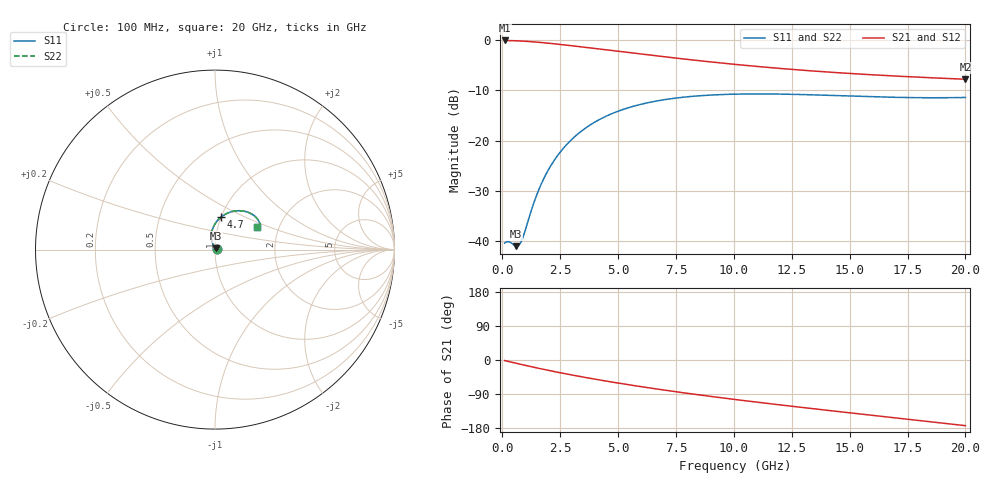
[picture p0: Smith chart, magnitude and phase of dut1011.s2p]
! Touchstone file exported from HFSS 2024.1.0
!  File:  C:/UserFiles/LocalFiles/RDL_TSV_Batchsim/temp_RDL_TSV_1011_1780078877.aedt
!  Generated:  02:37:17 AM May 30, 2026
!  Design:  RDL_TSV
!  Project:  temp_RDL_TSV_1011_1780078877
!  Setup:  Setup1
!  Solution:  Sweep
! Variables:
!  dtsv = 6.37um
!  hbump = 3um
!  htsv = 91.83um
!  ldown = 106.35um
!  lrdl = 499.93um
!  p = 40
!  p1 = 46.91um
!  rhole = 10um
!  subl = 2318.77um
!  t = 450um
!  tdown = 4.76um
!  trdl = 4.99um
!  viad = 10um
!  wdown = 18.86um
!  wrdl = 22.75um
!  xbump = 18um
# GHz S MA R 50.000000
! Terminal data exported
! Port[1] = TM1_1_T1
! Port[2] = TM1_4_T1
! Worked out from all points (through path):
!   200 points, 100 MHz to 20 GHz, reference 50 ohm
!   highest |S21| = -0.09 dB at 100 MHz (marker M1); lowest = -7.8 dB at 20 GHz (marker M2)
!   group delay of S21, straight-line fit = 22.8 ps
!   lowest |S11| = -40.9 dB at 600 MHz (marker M3), VSWR 1.02, Z = 50.7 + j0.628 ohm
!   |S11| at or under -10 dB: start of sweep to end of sweep
!   |S22| runs from -40.9 to -10.7 dB; largest |S21 - S12| = 1.6e-14
!   S11 on the Smith chart (normalised r, x): 100 MHz: 1.02, +0.00; 4.7 GHz: 1.00, +0.38; 20 GHz: 1.55, +0.43
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0.1  0.00964 8.4  0.9901 -1.5  0.9901 -1.5  0.009641 8.4
! Gamma 0 0 0 0
! Port Impedance 50 0 50 0
0.3  0.00993 19.0  0.9878 -4.4  0.9878 -4.4  0.009931 19.0
0.6  0.008987 43.6  0.9825 -8.6  0.9825 -8.6  0.008989 43.5
0.7  0.009093 56.2  0.9802 -10.0  0.9802 -10.0  0.009093 56.2
0.8  0.009772 69.5  0.9776 -11.5  0.9776 -11.5  0.00977 69.4
0.9  0.01112 81.5  0.9748 -12.8  0.9748 -12.8  0.01111 81.4
1.3  0.02194 106.3  0.9609 -18.3  0.9609 -18.3  0.02191 106.3
1.5  0.02949 109.9  0.9527 -21.0  0.9527 -21.0  0.02946 109.9
1.7  0.03795 110.9  0.9438 -23.6  0.9438 -23.6  0.03792 110.9
2  0.05188 110.0  0.9295 -27.5  0.9295 -27.5  0.05183 110.0
2.3  0.0668 107.6  0.9144 -31.2  0.9144 -31.2  0.06674 107.6
2.7  0.08751 103.2  0.8935 -36.0  0.8935 -36.0  0.08743 103.2
3.5  0.1289 93.5  0.8509 -45.1  0.8509 -45.1  0.1288 93.5
4.7  0.1844 79.4  0.7886 -57.8  0.7886 -57.8  0.1843 79.4
5.7  0.2213 69.2  0.7399 -67.6  0.7399 -67.6  0.2211 69.2
6.8  0.2514 59.5  0.6904 -77.7  0.6904 -77.7  0.2513 59.5
8.4  0.2784 48.0  0.6273 -91.3  0.6273 -91.3  0.2782 48.1
10.1  0.2903 38.9  0.5716 -104.6  0.5716 -104.6  0.2901 38.9
11.7  0.2912 32.7  0.5292 -116.4  0.5292 -116.4  0.2909 32.8
13.4  0.2857 28.4  0.493 -128.4  0.493 -128.4  0.2854 28.4
16.7  0.2708 25.7  0.4423 -150.9  0.4423 -150.9  0.2705 25.8
20  0.2691 28.4  0.408 -173.3  0.408 -173.3  0.2689 28.6
